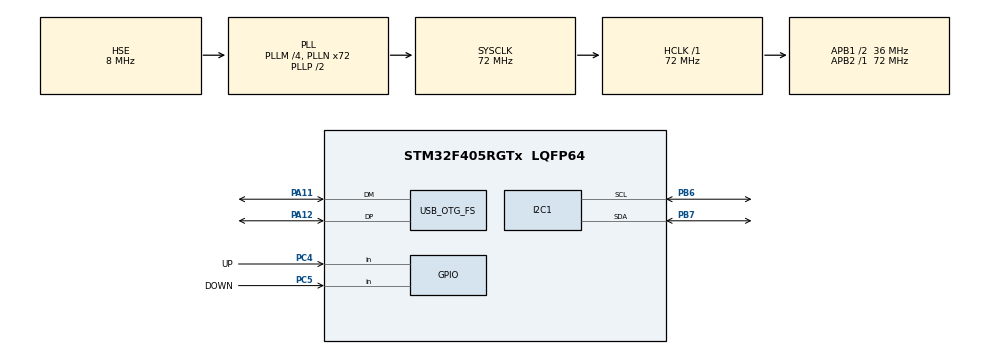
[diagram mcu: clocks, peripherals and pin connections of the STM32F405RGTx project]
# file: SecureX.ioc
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I2C1.I2C_Mode=I2C_Fast
Mcu.Family=STM32F4
Mcu.Name=STM32F405RGTx
Mcu.Package=LQFP64
NVIC.HASH_RNG_IRQn=true\:0\:0\:false\:false\:true\:true\:true\:true
NVIC.OTG_FS_IRQn=true\:0\:0\:false\:false\:true\:true\:true\:true
NVIC.PriorityGroup=NVIC_PRIORITYGROUP_4
NVIC.TIM2_IRQn=true\:0\:0\:false\:false\:true\:true\:true\:true
PA11.Mode=Device_Only
PA11.Signal=USB_OTG_FS_DM
PA12.Mode=Device_Only
PA12.Signal=USB_OTG_FS_DP
PA13.Mode=Trace_Asynchronous_SW
PA13.Signal=SYS_JTMS-SWDIO
PA14.Mode=Trace_Asynchronous_SW
PA14.Signal=SYS_JTCK-SWCLK
PB3.Mode=Trace_Asynchronous_SW
PB3.Signal=SYS_JTDO-SWO
PB6.Mode=I2C
PB6.Signal=I2C1_SCL
PB7.Mode=I2C
PB7.Signal=I2C1_SDA
PC4.GPIO_Label=UP
PC4.Signal=GPIO_Input
PC5.GPIO_Label=DOWN
PC5.Signal=GPIO_Input
PH0-OSC_IN.Mode=HSE-External-Oscillator
PH0-OSC_IN.Signal=RCC_OSC_IN
PH1-OSC_OUT.Mode=HSE-External-Oscillator
PH1-OSC_OUT.Signal=RCC_OSC_OUT
ProjectManager.HeapSize=0x200
ProjectManager.StackSize=0x400
ProjectManager.TargetToolchain=STM32CubeIDE
RCC.48MHZClocksFreq_Value=48000000
RCC.AHBFreq_Value=72000000
RCC.APB1CLKDivider=RCC_HCLK_DIV2
RCC.APB1Freq_Value=36000000
RCC.APB1TimFreq_Value=72000000
RCC.APB2Freq_Value=72000000
RCC.APB2TimFreq_Value=72000000
RCC.CortexFreq_Value=72000000
RCC.HCLKFreq_Value=72000000
RCC.HSE_VALUE=8000000
RCC.HSI_VALUE=16000000
RCC.LSE_VALUE=32768
RCC.PLLM=4
RCC.PLLN=72
RCC.PLLQ=3
RCC.SYSCLKFreq_VALUE=72000000
RCC.SYSCLKSource=RCC_SYSCLKSOURCE_PLLCLK
RCC.VCOOutputFreq_Value=144000000
TIM2.Period=1000
TIM2.Prescaler=42000
USB_DEVICE.CLASS_NAME_FS=CDC
USB_DEVICE.VirtualMode-CDC_FS=Cdc
USB_DEVICE.VirtualModeFS=Cdc_FS
USB_OTG_FS.VirtualMode=Device_Only
VP_CRC_VS_CRC.Mode=CRC_Activate
VP_RNG_VS_RNG.Mode=RNG_Activate
VP_TIM2_VS_ClockSourceINT.Mode=Internal
VP_USB_DEVICE_VS_USB_DEVICE_CDC_FS.Mode=CDC_FS
board=custom

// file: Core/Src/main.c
/* USER CODE BEGIN Header */
/**
 ******************************************************************************
 * @file           : main.c
 * @brief          : Main program body
 ******************************************************************************
 * @attention
 *
 * Copyright (c) 2024 STMicroelectronics.
 * All rights reserved.
 *
 * This software is licensed under terms that can be found in the LICENSE file
 * in the root directory of this software component.
 * If no LICENSE file comes with this software, it is provided AS-IS.
 *
 ******************************************************************************
 */
/* USER CODE END Header */
#include "main.h"
#include "usb_device.h"
/* USER CODE BEGIN Includes */
#include "usbd_cdc_if.h"
/* USER CODE END Includes */

/* USER CODE BEGIN PD */

cmox_sha256_handle_t sha256_ctx;

/* USER CODE END PD */

CRC_HandleTypeDef hcrc;

I2C_HandleTypeDef hi2c1;

RNG_HandleTypeDef hrng;

TIM_HandleTypeDef htim2;

/* USER CODE BEGIN PV */
uint8_t Brand_new = 0;
uint8_t GlobalSalt[8];
uint8_t LocalSalt[8];
uint8_t IV[16];
uint8_t password[12];
uint8_t MasterKey[16];    //128 bit
uint8_t user_num=0;
uint8_t CurrentUser;
uint8_t CurrentPassword[12];
uint8_t CurrentMasterKey[16];
uint8_t CurrentLocalSalt[8];
uint8_t CurrentIV[16];
uint8_t WrongPassword=0;
StateType state=Lock;
StateType MenuState=Lock;
bool TimerState=false;    //false is lock true unlock
bool DeviceState=false;   //false is lock true unlock
uint32_t Timer =0;
/* USER CODE END PV */

void SystemClock_Config(void);
static void MX_GPIO_Init(void);
static void MX_I2C1_Init(void);
static void MX_RNG_Init(void);
static void MX_TIM2_Init(void);
static void MX_CRC_Init(void);

/* USER CODE BEGIN 0 */
void I2C_Scan() {
  printf("Scanning I2C bus...\n");

  for (uint8_t i = 1; i < 128; i++) {  // I2C addresses range from 1 to 127
    if (HAL_I2C_IsDeviceReady(&hi2c1, (i << 1), 1, HAL_MAX_DELAY) == HAL_OK) {
      DEBUG_PRINT("Device found at 0x%02X\n", i);
    }
  }

  printf("Scan complete.\n");
}

void CDC_recieveCALLBACK(uint8_t *buf, uint32_t len) {
  uint8_t hwinfo[33] = {
      0x00, 0x02, 0x00, 0x00, 0x00, 0x00, 0x00, 0x00, 0x00,
      0x00, 0x00, 0x00, 0x00, 0x00, 0x00, 0x00, 0x00,
      0x00, 0x00, 0x00, 0x00, 0x00, 0x00, 0x00, 0x00,
      0x00, 0x00, 0x00, 0x00, 0x00, 0x00, 0x00, 0x01,
  };
  DEBUG_PRINT("Checking usb\n");
  printArray("Input data", buf, sizeof(buf));
  if (buf[0] == 0) {
    // Command 0: Check device status
    MY_FLASH_ReadN(BrandNew_address, &Brand_new, 1, DATA_TYPE_8);
    if (Brand_new == 0) {
      hwinfo[0] = 2; // Brand new device status
      CDC_Transmit_FS(hwinfo, 33); // Transmit status information
    } else if (DeviceState) {
      hwinfo[0] = 1; // Device unlocked status
      CDC_Transmit_FS(hwinfo, 33); // Transmit status information
    } else {
      hwinfo[0] = 0; // Device locked status
      CDC_Transmit_FS(hwinfo, 33); // Transmit status information
    }
  } else if (buf[0] == 1) {
    // Command 1: Toggle device state (Lock)
    if (DeviceState) {
      hwinfo[0] = 0; // Lock device
      CDC_Transmit_FS(hwinfo, 33); // Transmit status information
      DeviceState = 0; // Set device state to locked
      TimerState = 1; // Start timer
    } else {
      hwinfo[0] = 0; // device is a lock
      CDC_Transmit_FS(hwinfo, 33); // Transmit status information
    }
  } else if (buf[0] == 2) {
    // Command 2: Perform cryptographic operation
    if (DeviceState) {
      // Read the key from the received buffer
      uint8_t Key[9] = { buf[1], buf[2], buf[3], buf[4], buf[5], buf[6], buf[7], buf[8], buf[9] };
      printArray("Input ID", Key, sizeof(Key));
      printArray("Current master key", CurrentMasterKey, sizeof(CurrentMasterKey));
      // Initialize variables for key generation operation
      uint32_t carry = 0;
      uint8_t result[16];

      // Perform the key generation calculation
      for (int i = 0; i < 16; i++) {
        uint32_t sum = CurrentMasterKey[i] + (i < 9 ? Key[i] : 0) + carry;
        result[i] = sum & 0xFF;
        carry = (sum >> 8) & 0xFF;
      }
      printArray("Addition result of Masterkey + ID ", result, sizeof(result));
      // Calculate SHA-256 hash of the result
      uint8_t computed_hash[32];
      sha256(result, computed_hash, sizeof(result));
      printArray("Generated key ", computed_hash, sizeof(computed_hash));
      // Transmit the computed hash
      CDC_Transmit_FS(computed_hash, 32);
    }
  }
}
/* USER CODE END 0 */

int main(void)
{

  /* MCU Configuration--------------------------------------------------------*/

  /* Reset of all peripherals, Initializes the Flash interface and the Systick. */
  HAL_Init();

  /* Configure the system clock */
  SystemClock_Config();

  /* Initialize all configured peripherals */
  MX_GPIO_Init();
  MX_I2C1_Init();
  MX_RNG_Init();
  MX_TIM2_Init();
  MX_USB_DEVICE_Init();
  MX_CRC_Init();
  /* USER CODE BEGIN 2 */
  DEBUG_PRINT("Power up...!\n");
  MY_FLASH_SetSectorAddrs(sector_name, sector_base_address);
  ssd1306_Init();
  HAL_TIM_Base_Start_IT(&htim2);
  //write_flash(BrandNew_address, &Brand_new, 1);
  //write_flash(Nusers_address, &user_num, 1);
  //write_flash(WrongPassword_address, &WrongPassword, 1);
  I2C_Scan();
  Startup();
  /* USER CODE END 2 */

  /* Infinite loop */
  /* USER CODE BEGIN WHILE */
  while (1)
  {
    if(state == Lock)LockDevice();
    if(state == Reset)ResetFactory();
    if(state == Timeout)TimeoutMenu();
    if(state == Enrollment)Enroll();
    if(state == Menu)MainMenu();
    /* USER CODE END WHILE */
  }
}

void SystemClock_Config(void)
{
  RCC_OscInitTypeDef RCC_OscInitStruct = {0};
  RCC_ClkInitTypeDef RCC_ClkInitStruct = {0};

  /** Configure the main internal regulator output voltage
   */
  __HAL_RCC_PWR_CLK_ENABLE();
  __HAL_PWR_VOLTAGESCALING_CONFIG(PWR_REGULATOR_VOLTAGE_SCALE1);

  /** Initializes the RCC Oscillators according to the specified parameters
   * in the RCC_OscInitTypeDef structure.
   */
  RCC_OscInitStruct.OscillatorType = RCC_OSCILLATORTYPE_HSE;
  RCC_OscInitStruct.HSEState = RCC_HSE_ON;
  RCC_OscInitStruct.PLL.PLLState = RCC_PLL_ON;
  RCC_OscInitStruct.PLL.PLLSource = RCC_PLLSOURCE_HSE;
  RCC_OscInitStruct.PLL.PLLM = 4;
  RCC_OscInitStruct.PLL.PLLN = 72;
  RCC_OscInitStruct.PLL.PLLP = RCC_PLLP_DIV2;
  RCC_OscInitStruct.PLL.PLLQ = 3;
  if (HAL_RCC_OscConfig(&RCC_OscInitStruct) != HAL_OK)
  {
    Error_Handler();
  }

  /** Initializes the CPU, AHB and APB buses clocks
   */
  RCC_ClkInitStruct.ClockType = RCC_CLOCKTYPE_HCLK|RCC_CLOCKTYPE_SYSCLK
      |RCC_CLOCKTYPE_PCLK1|RCC_CLOCKTYPE_PCLK2;
  RCC_ClkInitStruct.SYSCLKSource = RCC_SYSCLKSOURCE_PLLCLK;
  RCC_ClkInitStruct.AHBCLKDivider = RCC_SYSCLK_DIV1;
  RCC_ClkInitStruct.APB1CLKDivider = RCC_HCLK_DIV2;
  RCC_ClkInitStruct.APB2CLKDivider = RCC_HCLK_DIV1;

  if (HAL_RCC_ClockConfig(&RCC_ClkInitStruct, FLASH_LATENCY_2) != HAL_OK)
  {
    Error_Handler();
  }
}

static void MX_CRC_Init(void)
{

  hcrc.Instance = CRC;
  if (HAL_CRC_Init(&hcrc) != HAL_OK)
  {
    Error_Handler();
  }

}

static void MX_I2C1_Init(void)
{

  hi2c1.Instance = I2C1;
  hi2c1.Init.ClockSpeed = 400000;
  hi2c1.Init.DutyCycle = I2C_DUTYCYCLE_2;
  hi2c1.Init.OwnAddress1 = 0;
  hi2c1.Init.AddressingMode = I2C_ADDRESSINGMODE_7BIT;
  hi2c1.Init.DualAddressMode = I2C_DUALADDRESS_DISABLE;
  hi2c1.Init.OwnAddress2 = 0;
  hi2c1.Init.GeneralCallMode = I2C_GENERALCALL_DISABLE;
  hi2c1.Init.NoStretchMode = I2C_NOSTRETCH_DISABLE;
  if (HAL_I2C_Init(&hi2c1) != HAL_OK)
  {
    Error_Handler();
  }

}

static void MX_RNG_Init(void)
{

  hrng.Instance = RNG;
  if (HAL_RNG_Init(&hrng) != HAL_OK)
  {
    Error_Handler();
  }

}

static void MX_TIM2_Init(void)
{

  TIM_ClockConfigTypeDef sClockSourceConfig = {0};
  TIM_MasterConfigTypeDef sMasterConfig = {0};

  htim2.Instance = TIM2;
  htim2.Init.Prescaler = 42000;
  htim2.Init.CounterMode = TIM_COUNTERMODE_UP;
  htim2.Init.Period = 1000;
  htim2.Init.ClockDivision = TIM_CLOCKDIVISION_DIV1;
  htim2.Init.AutoReloadPreload = TIM_AUTORELOAD_PRELOAD_DISABLE;
  if (HAL_TIM_Base_Init(&htim2) != HAL_OK)
  {
    Error_Handler();
  }
  sClockSourceConfig.ClockSource = TIM_CLOCKSOURCE_INTERNAL;
  if (HAL_TIM_ConfigClockSource(&htim2, &sClockSourceConfig) != HAL_OK)
  {
    Error_Handler();
  }
  sMasterConfig.MasterOutputTrigger = TIM_TRGO_RESET;
  sMasterConfig.MasterSlaveMode = TIM_MASTERSLAVEMODE_DISABLE;
  if (HAL_TIMEx_MasterConfigSynchronization(&htim2, &sMasterConfig) != HAL_OK)
  {
    Error_Handler();
  }

}

static void MX_GPIO_Init(void)
{
  GPIO_InitTypeDef GPIO_InitStruct = {0};

  /* GPIO Ports Clock Enable */
  __HAL_RCC_GPIOH_CLK_ENABLE();
  __HAL_RCC_GPIOC_CLK_ENABLE();
  __HAL_RCC_GPIOA_CLK_ENABLE();
  __HAL_RCC_GPIOB_CLK_ENABLE();

  /*Configure GPIO pins : UP_Pin DOWN_Pin */
  GPIO_InitStruct.Pin = UP_Pin|DOWN_Pin;
  GPIO_InitStruct.Mode = GPIO_MODE_INPUT;
  GPIO_InitStruct.Pull = GPIO_NOPULL;
  HAL_GPIO_Init(GPIOC, &GPIO_InitStruct);

}

void Error_Handler(void)
{
  __disable_irq();
  while (1)
  {
  }
}
